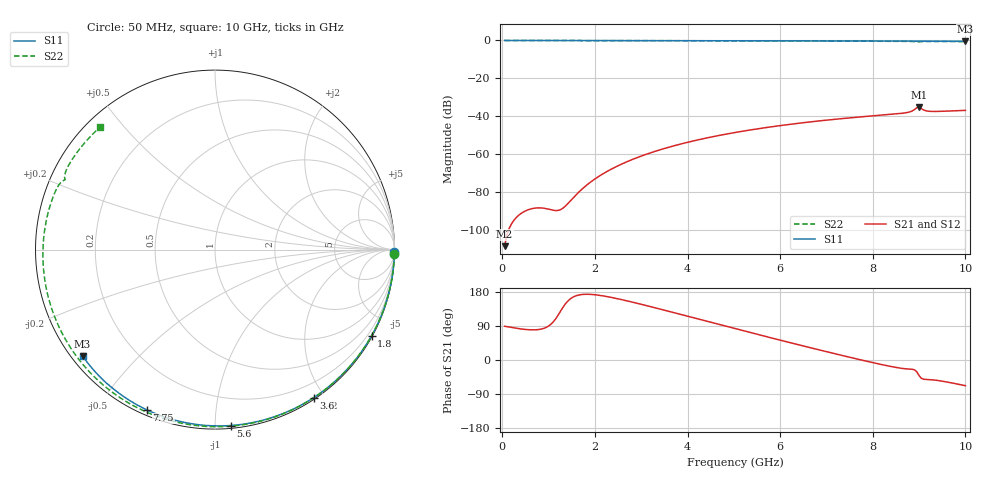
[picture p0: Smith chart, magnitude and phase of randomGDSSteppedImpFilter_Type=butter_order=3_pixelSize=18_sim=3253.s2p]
! freq	dB(S11)	phase(S11)	dB(S12)	phase(S12)
!  dB(S21)	phase(S21)	dB(S22)	phase(S22)
!S-par simulation data
#  GHz  S  DB  R 50
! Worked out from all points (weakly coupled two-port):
!   200 points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, 50 MHz to 10 GHz, reference 50 ohm
!   highest |S21| = -35.16 dB at 9 GHz (marker M1); lowest = -108.3 dB at 50 MHz (marker M2)
!   lowest |S11| = -0.5 dB at 10 GHz (marker M3), VSWR 36.38, Z = 1.54 - j17.6 ohm
!   |S11| at or under -10 dB: nowhere
!   |S22| runs from -0.7 to 0.0 dB; largest |S21 - S12| = 0
!   S11 on the Smith chart (normalised r, x): 50 MHz: open; 1.8 GHz: 0.03, -3.88; 3.6 GHz: 0.02, -1.87; 5.6 GHz: 0.02, -1.09; 7.75 GHz: 0.02, -0.66; 10 GHz: 0.03, -0.35
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0.05  -0.00 -0.8  -108.35 89.0  -108.35 89.0  -0.00 -1.4
0.8  -0.02 -12.9  -88.18 80.7  -88.18 80.7  -0.03 -22.4
1.6  -0.03 -25.7  -81.13 169.8  -81.13 169.8  -0.06 -44.1
1.65  -0.03 -26.5  -79.92 171.5  -79.92 171.5  -0.06 -45.4
1.75  -0.04 -28.1  -77.68 173.2  -77.68 173.2  -0.06 -48.1
1.8  -0.04 -28.9  -76.64 173.5  -76.64 173.5  -0.06 -49.4
2.1  -0.04 -33.6  -71.35 170.6  -71.35 170.6  -0.07 -57.2
2.45  -0.05 -39.0  -66.58 162.7  -66.58 162.7  -0.08 -66.1
2.9  -0.06 -45.9  -61.81 150.0  -61.81 150.0  -0.10 -77.2
3.4  -0.07 -53.4  -57.63 134.6  -57.63 134.6  -0.11 -89.1
3.6  -0.08 -56.4  -56.20 128.3  -56.20 128.3  -0.12 -93.7
4.3  -0.09 -66.6  -51.95 106.0  -51.95 106.0  -0.15 -109.4
5.05  -0.12 -77.2  -48.38 82.1  -48.38 82.1  -0.18 -125.4
5.6  -0.14 -84.8  -46.22 64.8  -46.22 64.8  -0.21 -136.7
6.7  -0.19 -99.5  -42.76 31.0  -42.76 31.0  -0.28 -158.8
7.75  -0.26 -113.0  -40.24 0.1  -40.24 0.1  -0.37 -179.7
8.35  -0.31 -120.6  -39.02 -16.1  -39.02 -16.1  -0.42 168.1
8.75  -0.35 -125.6  -37.93 -23.7  -37.93 -23.7  -0.48 159.5
9  -0.36 -128.7  -35.16 -41.2  -35.16 -41.2  -0.71 155.0
9.1  -0.37 -130.0  -36.63 -50.8  -36.63 -50.8  -0.58 153.4
9.25  -0.39 -131.9  -37.36 -51.8  -37.36 -51.8  -0.53 149.9
10  -0.48 -141.2  -36.83 -67.8  -36.83 -67.8  -0.58 133.2
